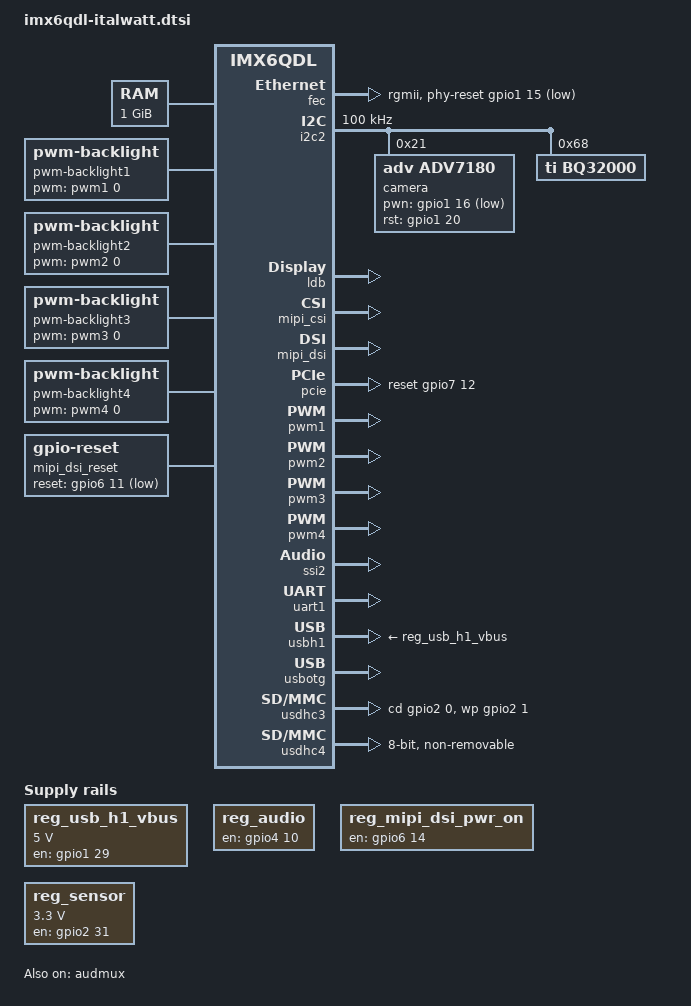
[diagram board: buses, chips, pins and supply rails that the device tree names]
/*
 * Copyright 2012 Freescale Semiconductor, Inc.
 * Copyright 2011 Linaro Ltd.
 *
 * The code contained herein is licensed under the GNU General Public
 * License. You may obtain a copy of the GNU General Public License
 * Version 2 or later at the following locations:
 *
 * http://www.opensource.org/licenses/gpl-license.html
 * http://www.gnu.org/copyleft/gpl.html
 */

/ {
	aliases {
		mxcfb0 = &mxcfb1;
		mxcfb1 = &mxcfb2;
		mxcfb2 = &mxcfb3;
		mxcfb3 = &mxcfb4;
	};

	memory {
		reg = <0x10000000 0x40000000>;
	};

	regulators {
		compatible = "simple-bus";
		
		reg_usb_h1_vbus: usb_h1_vbus {
			compatible = "regulator-fixed";
			regulator-name = "usb_h1_vbus";
			regulator-min-microvolt = <5000000>;
			regulator-max-microvolt = <5000000>;
			gpio = <&gpio1 29 0>;
			enable-active-high;
		};

		reg_audio: wm8962_supply {
			compatible = "regulator-fixed";
			regulator-name = "wm8962-supply";
			gpio = <&gpio4 10 0>;
			enable-active-high;
		};

		reg_mipi_dsi_pwr_on: mipi_dsi_pwr_on {
			compatible = "regulator-fixed";
			regulator-name = "mipi_dsi_pwr_on";
			gpio = <&gpio6 14 0>;
			enable-active-high;
		};

		reg_sensor: sensor_supply {
			compatible = "regulator-fixed";
			regulator-name = "sensor-supply";
			regulator-min-microvolt = <3300000>;
			regulator-max-microvolt = <3300000>;
			gpio = <&gpio2 31 0>;
			startup-delay-us = <500>;
			enable-active-high;
		};
	};

	mxcfb1: fb@0 {
		compatible = "fsl,mxc_sdc_fb";
		disp_dev = "ldb";
		interface_pix_fmt = "RGB666";
		mode_str ="LDBXGA";
		default_bpp = <16>;
		int_clk = <0>;
		late_init = <0>;
		status = "disabled";
	};
	
	mxcfb2: fb@1 {
		compatible = "fsl,mxc_sdc_fb";
		disp_dev = "ldb";
		interface_pix_fmt = "RGB666";
		mode_str ="LDBXGA";
		default_bpp = <16>;
		int_clk = <0>;
		late_init = <0>;
		status = "disabled";
	};

	mxcfb3: fb@2 {
		compatible = "fsl,mxc_sdc_fb";
		disp_dev = "hdmi";
		interface_pix_fmt = "RGB24";
		mode_str ="1920x1080@60p";
		default_bpp = <32>;
		int_clk = <0>;
		late_init = <0>;
		status = "disabled";
	};
	mxcfb4: fb@3 {
		compatible = "fsl,mxc_sdc_fb";
		disp_dev = "lcd";
		interface_pix_fmt = "RGB565";
		mode_str ="CLAA-WVGA";
		default_bpp = <16>;
		int_clk = <0>;
		late_init = <0>;
		status = "disabled";
	};
	
	pwm-backlight1 {
		compatible = "pwm-backlight";
		pwms = <&pwm1 0 5000000>;
		brightness-levels = <0 1 2 3 4 5 6 7 8 9 10 11 12 13 14 15 16 17 18 19 20 21 22 23 24 25 26 27 28 29 30 31 32 33 34 35 36 37 38 39 40 41 42 43 44 45 46 47 48 49 50 51 52 53 54 55 56 57 58 59 60 61 62 63 64 65 66 67 68 69 70 71 72 73 74 75 76 77 78 79 80 81 82 83 84 85 86 87 88 89 90 91 92 93 94 95 96 97 98 99 100 101 102 103 104 105 106 107 108 109 110 111 112 113 114 115 116 117 118 119 120 121 122 123 124 125 126 127 128 129 130 131 132 133 134 135 136 137 138 139 140 141 142 143 144 145 146 147 148 149 150 151 152 153 154 155 156 157 158 159 160 161 162 163 164 165 166 167 168 169 170 171 172 173 174 175 176 177 178 179 180 181 182 183 184 185 186 187 188 189 190 191 192 193 194 195 196 197 198 199 200 201 202 203 204 205 206 207 208 209 210 211 212 213 214 215 216 217 218 219 220 221 22 223 224 225 226 227 228 229 230 231 232 233 234 235 236 237 238 239 240 241 242 243 244 245 246 247 248 249 250 251 252 253 254 255>;
		default-brightness-level = <128>;
	};
	
	pwm-backlight2 {
		compatible = "pwm-backlight";
		pwms = <&pwm2 0 5000000>;
		brightness-levels = <0 1 2 3 4 5 6 7 8 9 10 11 12 13 14 15 16 17 18 19 20 21 22 23 24 25 26 27 28 29 30 31 32 33 34 35 36 37 38 39 40 41 42 43 44 45 46 47 48 49 50 51 52 53 54 55 56 57 58 59 60 61 62 63 64 65 66 67 68 69 70 71 72 73 74 75 76 77 78 79 80 81 82 83 84 85 86 87 88 89 90 91 92 93 94 95 96 97 98 99 100 101 102 103 104 105 106 107 108 109 110 111 112 113 114 115 116 117 118 119 120 121 122 123 124 125 126 127 128 129 130 131 132 133 134 135 136 137 138 139 140 141 142 143 144 145 146 147 148 149 150 151 152 153 154 155 156 157 158 159 160 161 162 163 164 165 166 167 168 169 170 171 172 173 174 175 176 177 178 179 180 181 182 183 184 185 186 187 188 189 190 191 192 193 194 195 196 197 198 199 200 201 202 203 204 205 206 207 208 209 210 211 212 213 214 215 216 217 218 219 220 221 22 223 224 225 226 227 228 229 230 231 232 233 234 235 236 237 238 239 240 241 242 243 244 245 246 247 248 249 250 251 252 253 254 255>;
		default-brightness-level = <128>;
	};

	pwm-backlight3 {
		compatible = "pwm-backlight";
		pwms = <&pwm3 0 5000000>;
		brightness-levels = <0 1 2 3 4 5 6 7 8 9 10 11 12 13 14 15 16 17 18 19 20 21 22 23 24 25 26 27 28 29 30 31 32 33 34 35 36 37 38 39 40 41 42 43 44 45 46 47 48 49 50 51 52 53 54 55 56 57 58 59 60 61 62 63 64 65 66 67 68 69 70 71 72 73 74 75 76 77 78 79 80 81 82 83 84 85 86 87 88 89 90 91 92 93 94 95 96 97 98 99 100 101 102 103 104 105 106 107 108 109 110 111 112 113 114 115 116 117 118 119 120 121 122 123 124 125 126 127 128 129 130 131 132 133 134 135 136 137 138 139 140 141 142 143 144 145 146 147 148 149 150 151 152 153 154 155 156 157 158 159 160 161 162 163 164 165 166 167 168 169 170 171 172 173 174 175 176 177 178 179 180 181 182 183 184 185 186 187 188 189 190 191 192 193 194 195 196 197 198 199 200 201 202 203 204 205 206 207 208 209 210 211 212 213 214 215 216 217 218 219 220 221 22 223 224 225 226 227 228 229 230 231 232 233 234 235 236 237 238 239 240 241 242 243 244 245 246 247 248 249 250 251 252 253 254 255>;
		default-brightness-level = <128>;
	};

	pwm-backlight4 {
		compatible = "pwm-backlight";
		pwms = <&pwm4 0 5000000>;
		brightness-levels = <0 1 2 3 4 5 6 7 8 9 10 11 12 13 14 15 16 17 18 19 20 21 22 23 24 25 26 27 28 29 30 31 32 33 34 35 36 37 38 39 40 41 42 43 44 45 46 47 48 49 50 51 52 53 54 55 56 57 58 59 60 61 62 63 64 65 66 67 68 69 70 71 72 73 74 75 76 77 78 79 80 81 82 83 84 85 86 87 88 89 90 91 92 93 94 95 96 97 98 99 100 101 102 103 104 105 106 107 108 109 110 111 112 113 114 115 116 117 118 119 120 121 122 123 124 125 126 127 128 129 130 131 132 133 134 135 136 137 138 139 140 141 142 143 144 145 146 147 148 149 150 151 152 153 154 155 156 157 158 159 160 161 162 163 164 165 166 167 168 169 170 171 172 173 174 175 176 177 178 179 180 181 182 183 184 185 186 187 188 189 190 191 192 193 194 195 196 197 198 199 200 201 202 203 204 205 206 207 208 209 210 211 212 213 214 215 216 217 218 219 220 221 22 223 224 225 226 227 228 229 230 231 232 233 234 235 236 237 238 239 240 241 242 243 244 245 246 247 248 249 250 251 252 253 254 255>;
		default-brightness-level = <128>;
	};


	v4l2_cap_0 {
		compatible = "fsl,imx6q-v4l2-capture";
		ipu_id = <0>;
		csi_id = <0>;
		mclk_source = <0>;
		status = "okay";
	};

	v4l2_out {
		compatible = "fsl,mxc_v4l2_output";
		status = "okay";
	};

	mipi_dsi_reset: mipi-dsi-reset {
		compatible = "gpio-reset";
		reset-gpios = <&gpio6 11 GPIO_ACTIVE_LOW>;
		reset-delay-us = <50>;
		#reset-cells = <0>;
	};
};

&audmux {
        pinctrl-names = "default";
        pinctrl-0 = <&pinctrl_audmux_1>;
        status = "okay";
};

&cpu0 {
	arm-supply = <&sw1a_reg>;
	soc-supply = <&sw1c_reg>;
	pu-supply = <&pu_dummy>; /* use pu_dummy if VDDSOC share with VDDPU */
};

&fec {
	pinctrl-names = "default";
	pinctrl-0 = <&pinctrl_enet_1>;
	phy-mode = "rgmii";
	phy-reset-gpios = <&gpio1 15 0>;
	status = "okay";
};

&gpc {
	fsl,cpu_pupscr_sw2iso = <0xf>;
	fsl,cpu_pupscr_sw = <0xf>;
	fsl,cpu_pdnscr_iso2sw = <0x1>;
	fsl,cpu_pdnscr_iso = <0x1>;
	fsl,ldo-bypass = <1>; /* use ldo-bypass, u-boot will check it and configure */
	fsl,wdog-reset = <2>; /* watchdog select of reset source */
	pu-supply = <&pu_dummy>; /* ldo-bypass:use pu_dummy if VDDSOC share with VDDPU */
};

&gpu {
	pu-supply = <&pu_dummy>; /* ldo-bypass:use pu_dummy if VDDSOC share with VDDPU */
};

&hdmi_audio {
	status = "disabled";
};

&hdmi_cec {
	pinctrl-names = "default";
	pinctrl-0 = <&pinctrl_hdmi_cec_1>;
	status = "disabled";
};

&hdmi_core {
	ipu_id = <0>;
	disp_id = <1>;
	status = "disabled";
};

&hdmi_video {
	fsl,phy_reg_vlev = <0x0294>;
	fsl,phy_reg_cksymtx = <0x800d>;
	status = "disabled";
};

&i2c1 {
	clock-frequency = <100000>;
	pinctrl-names = "default";
	pinctrl-0 = <&pinctrl_i2c1_1>;
	status = "disabled";
};

&i2c2 {
	clock-frequency = <100000>;
	pinctrl-names = "default";
	pinctrl-0 = <&pinctrl_i2c2_1>;

	status = "okay";
	
	//TODO: check it
	hdmi: edid@50 {
		compatible = "fsl,imx6-hdmi-i2c";
		reg = <0x50>;
		status = "disabled";
	};
	
	camera: adv7180@21 {
		compatible = "adv,adv7180";
		reg = <0x21>;
		pinctrl-names = "default";
        pinctrl-0 = <&pinctrl_ipu1_1>;
		clocks = <&clks 201>;
        clock-names = "csi_mclk";
        pwn-gpios = <&gpio1 16 1>;   /* active low: SD1_DAT0 */
        rst-gpios = <&gpio1 20 0>;   /* active high: SD1_CLK */
        csi_id = <0>;
        mclk = <24000000>;
        mclk_source = <0>;
        cvbs = <1>;
	};

	bq32000: rtc@68 {
		compatible = "ti,bq32000";
		trickle-resistor-ohms = <1120>;
		reg = <0x68>;
	};
};


&i2c3 {
        clock-frequency = <100000>;
        pinctrl-names = "default";
	pinctrl-0 = <&pinctrl_i2c3_1>;
        status = "disabled";
};

&iomuxc {
	pinctrl-names = "default";
	pinctrl-0 = <&pinctrl_hog_1>;

	hog {
		pinctrl_hog_1: hoggrp-1 {
			fsl,pins = <
				/* LVDS */
				MX6QDL_PAD_NANDF_D2__GPIO2_IO02 0x80000000 /* F16_DPS_0 */
                MX6QDL_PAD_NANDF_D3__GPIO2_IO03 0x80000000 /* D17_FRC_0 */
				MX6QDL_PAD_NANDF_D5__GPIO2_IO05 0x80000000 /* B18_DPS_1 */
				MX6QDL_PAD_NANDF_D6__GPIO2_IO06 0x80000000 /* E17_FRC_1 */
				/* USB */
				MX6QDL_PAD_EIM_A25__GPIO5_IO02 0x80000000 /* H19_USB_H1_OC */
                MX6QDL_PAD_EIM_D19__GPIO3_IO19 0x80000000 /* G21_USB_OTG_OC */
				MX6QDL_PAD_EIM_D22__GPIO3_IO22 0x80000000 /* E23_USB_OTG_PWR_EN */ 				
				MX6QDL_PAD_ENET_TXD1__GPIO1_IO29 0x80000000 /* W20_USB_H1_PWR_EN */
				/* Boot configuration */
				MX6QDL_PAD_EIM_A24__GPIO5_IO04  0x80000000 /* F25_EIM_A24 */ 
				MX6QDL_PAD_EIM_A23__GPIO6_IO06  0x80000000 /* J21_EIM_A23 */
				MX6QDL_PAD_EIM_A22__GPIO2_IO16  0x80000000 /* F24_EIM_A22 */
				MX6QDL_PAD_EIM_A21__GPIO2_IO17  0x80000000 /* H23_EIM_A21 */
				MX6QDL_PAD_EIM_A20__GPIO2_IO18  0x80000000 /* H22_EIM_A20 */
				MX6QDL_PAD_EIM_A19__GPIO2_IO19  0x80000000 /* G25_EIM_A19 */
				MX6QDL_PAD_EIM_A18__GPIO2_IO20  0x80000000 /* J22_EIM_A18 */
				MX6QDL_PAD_EIM_A17__GPIO2_IO21  0x80000000 /* G24_EIM_A17 */
				MX6QDL_PAD_EIM_A16__GPIO2_IO22  0x80000000 /* H25_EIM_A16 */
				MX6QDL_PAD_EIM_BCLK__GPIO6_IO31 0x80000000 /* N22_EIM_BCLK */
				MX6QDL_PAD_EIM_WAIT__GPIO5_IO00 0x80000000 /* M25_EIM_WAIT */
				MX6QDL_PAD_EIM_EB0__GPIO2_IO28  0x80000000 /* K21_EIM_EB0 */
				MX6QDL_PAD_EIM_EB1__GPIO2_IO29  0x80000000 /* J12_EIM_EB1 */
				/* 5V enable */
				MX6QDL_PAD_NANDF_RB0__GPIO6_IO10 0x80000000 /* B16_AUX_5V_EN */
				/* External sensors */
				MX6QDL_PAD_EIM_EB3__GPIO2_IO31   0x80000000 /* F23_SENSOR_PWR_EN */
				MX6QDL_PAD_EIM_D20__GPIO3_IO20 	 0x80000000 /* G20_SENS_INT_0 */
				MX6QDL_PAD_NANDF_CS0__GPIO6_IO11 0x80000000 /* F15_SENS_INT_1 */
			        MX6QDL_PAD_EIM_D23__GPIO3_IO23   0x80000000 /* D25_SENS_INT_2 */
				MX6QDL_PAD_GPIO_6__GPIO1_IO06    0x80000000 /* T3_SENS_INT_3 */
				/* Service */
				MX6QDL_PAD_DI0_DISP_CLK__GPIO4_IO16 0x80000000 /* N19 */
				MX6QDL_PAD_DISP0_DAT7__GPIO4_IO28   0x80000000 /* R24 */
				MX6QDL_PAD_DISP0_DAT8__GPIO4_IO29   0x80000000 /* R22 */
				MX6QDL_PAD_DISP0_DAT9__GPIO4_IO30   0x80000000 /* T25 */
				MX6QDL_PAD_DISP0_DAT10__GPIO4_IO31  0x80000000 /* R21 */
				MX6QDL_PAD_DISP0_DAT11__GPIO5_IO05  0x80000000 /* T23_HOLD_SWITCH_OFF */
				MX6QDL_PAD_DISP0_DAT12__GPIO5_IO06  0x80000000 /* T24 */
				MX6QDL_PAD_DISP0_DAT13__GPIO5_IO07  0x80000000 /* R20 */
				MX6QDL_PAD_DISP0_DAT14__GPIO5_IO08  0x80000000 /* U25 */
				/* Buttons */
				MX6QDL_PAD_EIM_D29__GPIO3_IO29   0x80000000 /* J19_PWR_BTN_SNS */ 
                MX6QDL_PAD_NANDF_ALE__GPIO6_IO08 0x80000000 /* A16_KEY_VOL_UP */
                MX6QDL_PAD_NANDF_CLE__GPIO6_IO07 0x80000000 /* C15_KEY_VOL_DN */
				/* Leds */
				MX6QDL_PAD_DI0_PIN2__GPIO4_IO18  0x80000000 /* N25_LED0 */
				MX6QDL_PAD_DI0_PIN3__GPIO4_IO19  0x80000000 /* N20_LED1 */
				MX6QDL_PAD_DI0_PIN4__GPIO4_IO20  0x80000000 /* P25_LED2 */
				MX6QDL_PAD_DI0_PIN15__GPIO4_IO17 0x80000000 /* N21_LED3 */
				MX6QDL_PAD_NANDF_CS1__GPIO6_IO14 0x80000000 /* C16_USR_DEF_RED_LED */
				/* Keys */
				MX6QDL_PAD_DISP0_DAT0__GPIO4_IO21 0x80000000 /* P24_KEY_0 */
				MX6QDL_PAD_DISP0_DAT1__GPIO4_IO22 0x80000000 /* P22_KEY_1 */
				MX6QDL_PAD_DISP0_DAT2__GPIO4_IO23 0x80000000 /* P23_KEY_2 */
				MX6QDL_PAD_DISP0_DAT3__GPIO4_IO24 0x80000000 /* P21_KEY_3 */
				/* Input */
				MX6QDL_PAD_DISP0_DAT4__GPIO4_IO25 0x80000000 /* P20_IN_0 */
				MX6QDL_PAD_DISP0_DAT5__GPIO4_IO26 0x80000000 /* R25_IN_1 */
				/* PWM enable */
				MX6QDL_PAD_NANDF_CS2__GPIO6_IO15 0x80000000 /* A17_CABC_EN0 */
                MX6QDL_PAD_NANDF_CS3__GPIO6_IO16 0x80000000 /* D16_CABC_EN1 */
				/* Various */			
				MX6QDL_PAD_NANDF_D4__GPIO2_IO04   0x80000000 /* A19_IMX_CAN_ERR_0 */
                MX6QDL_PAD_NANDF_D7__GPIO2_IO07   0x80000000 /* C18_IMX_CAN_ERR_1 */
	            MX6QDL_PAD_ENET_TX_EN__GPIO1_IO28 0x80000000 /* V21_IMX_CAN_STB */
				MX6QDL_PAD_ENET_RXD0__GPIO1_IO27  0x80000000 /* W21_IMX_CAN_EN */
				MX6QDL_PAD_KEY_COL4__GPIO4_IO14   0x80000000 /* T6_CAN2_TX */
				MX6QDL_PAD_KEY_ROW4__GPIO4_IO15   0x80000000 /* V5_CAN2_RX */
				MX6QDL_PAD_GPIO_7__GPIO1_IO07     0x80000000 /* R3_UART2_TXD */
				MX6QDL_PAD_GPIO_8__GPIO1_IO08     0x80000000 /* R5_UART2_RXD */
				MX6QDL_PAD_SD2_CMD__GPIO1_IO11    0x80000000 /* F19_SATA_DEVSLP */
				MX6QDL_PAD_SD2_CLK__GPIO1_IO10    0x80000000 /* C21_SENS_2 */
				MX6QDL_PAD_SD2_DAT0__GPIO1_IO15   0x80000000 /* A22_SENS_3 */
				MX6QDL_PAD_SD2_DAT3__GPIO1_IO12   0x80000000 /* B22_IO_PWR_OC */
				MX6QDL_PAD_SD3_DAT4__GPIO7_IO01   0x80000000 /* D13_SENS_0 */
				MX6QDL_PAD_SD3_DAT5__GPIO7_IO00   0x80000000 /* C13_SENS_1 */
				MX6QDL_PAD_NANDF_D0__GPIO2_IO00   0x80000000 /* A18_SD3_CD_B */
                MX6QDL_PAD_NANDF_D1__GPIO2_IO01   0x80000000 /* C17_SD3_WP */
				MX6QDL_PAD_ENET_TXD0__GPIO1_IO30  0x80000000 /* U20_IO_PWR_EN */
				MX6QDL_PAD_KEY_COL2__GPIO4_IO10   0x80000000 /* W6_CODEC_PWR_EN */
				MX6QDL_PAD_SD3_RST__GPIO7_IO08    0x80000000 /* D15_HEADPHONE_DET */
				MX6QDL_PAD_GPIO_9__GPIO1_IO09     0x80000000 /* T2_MICROPHONE_DET */
				MX6QDL_PAD_GPIO_1__WDOG2_B        0x80000000 /* T4_WDOG_B */ /* to reset pmic */
				MX6QDL_PAD_GPIO_16__GPIO7_IO11    0x80000000 /* R2_V_BATT_ENA_RD */
				MX6QDL_PAD_GPIO_17__GPIO7_IO12    0x80000000 /* R1_SATA_DEVSLP */
				MX6QDL_PAD_GPIO_18__GPIO7_IO13    0x80000000 /* P6_PMIC_INT_B */
				MX6QDL_PAD_GPIO_19__GPIO4_IO05    0x80000000 /* P5 */
				/* - */
				MX6QDL_PAD_ENET_TXD1__GPIO1_IO29 0x80000000
				MX6QDL_PAD_EIM_D16__GPIO3_IO16   0x80000000
			>;
		};
	};
};

&ldb {
	ipu_id = <1>;
	disp_id = <1>;
	ext_ref = <1>;
	mode = "sep0";
	sec_ipu_id = <1>;
	sec_disp_id = <0>;
	status = "okay";
};

&mipi_csi {
	status = "okay";
	ipu_id = <0>;
	csi_id = <1>;
	v_channel = <0>;
	lanes = <2>;
};

&mipi_dsi {
	dev_id = <0>;
	disp_id = <1>;
	lcd_panel = "TRULY-WVGA";
	disp-power-on-supply = <&reg_mipi_dsi_pwr_on>;
	resets = <&mipi_dsi_reset>;
	status = "okay";
};

&pcie {
	power-on-gpio = <&gpio3 19 0>;
	reset-gpio = <&gpio7 12 0>;
	status = "okay";
};


&pwm1 {
	pinctrl-names = "default";
	pinctrl-0 = <&pinctrl_pwm1_1>;
	status = "okay";
};

&pwm2 {
	pinctrl-names = "default";
	pinctrl-0 = <&pinctrl_pwm2_1>;
	status = "okay";
};

&pwm3 {
	pinctrl-names = "default";
	pinctrl-0 = <&pinctrl_pwm3_1>;
	status = "okay";
};

&pwm4 {
	pinctrl-names = "default";
	pinctrl-0 = <&pinctrl_pwm4_1>;
	status = "okay";
};

&ssi2 {
	fsl,mode = "i2s-slave";
	status = "okay";
};

&uart1 {
	pinctrl-names = "default";
	pinctrl-0 = <&pinctrl_uart1_1>;
	status = "okay";
};

&usbh1 {
	vbus-supply = <&reg_usb_h1_vbus>;
	disable-over-current;
	status = "okay";
};

&usbotg {
	pinctrl-names = "default";
	pinctrl-0 = <&pinctrl_usbotg_1>;
	disable-over-current;
	status = "okay";
};

&usdhc3 {
	pinctrl-names = "default";
	pinctrl-0 = <&pinctrl_usdhc3_1>;
	cd-gpios = <&gpio2 0 0>;
	wp-gpios = <&gpio2 1 0>;
	no-1-8-v;
	keep-power-in-suspend;
	enable-sdio-wakeup;
	status = "okay";
};

&usdhc4 {
        pinctrl-names = "default";
        pinctrl-0 = <&pinctrl_usdhc4_1>;
        bus-width = <8>;
        non-removable;
        no-1-8-v;
	keep-power-in-suspend;
        status = "okay";
};

&vpu {
	pu-supply = <&pu_dummy>; /* ldo-bypass:use pu_dummy if VDDSOC share with VDDPU */
};

